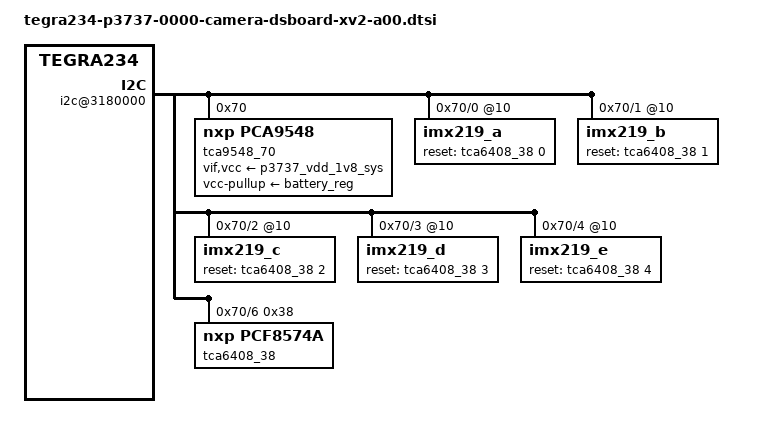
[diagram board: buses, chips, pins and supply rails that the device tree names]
/*
 * Copyright (c) 2015-2018, NVIDIA CORPORATION.  All rights reserved.
 *
 * This program is free software; you can redistribute it and/or modify
 * it under the terms of the GNU General Public License as published by
 * the Free Software Foundation; either version 2 of the License, or
 * (at your option) any later version.
 *
 * This program is distributed in the hope that it will be useful, but WITHOUT
 * ANY WARRANTY; without even the implied warranty of MERCHANTABILITY or
 * FITNESS FOR A PARTICULAR PURPOSE.  See the GNU General Public License for
 * more details.
 *
 * You should have received a copy of the GNU General Public License
 * along with this program.  If not, see <http://www.gnu.org/licenses/>.
 */
#include "tegra234-camera-dsboard-xv2-a00.dtsi"
#include "dt-bindings/clock/tegra234-clock.h"

#define CAMERA_I2C_MUX_BUS(x) (0x1E + x)

/ {
	tegra-camera-platform {
		/**
		* tpg_max_iso = <>;
		* Max iso bw for 6 streams of tpg
		* streams * nvcsi_freq * PG_bitrate / RG10 * BPP
		* 6 * 102Mhz * 32 bits/ 10 bits * 2 Bps
		* = 3916.8 MBps
		*/
		tpg_max_iso = <3916800>;
	};

	i2c@3180000 {
		tca9548_70: tca9548@70 {
			status = "okay";
			compatible = "nxp,pca9548";
			reg = <0x70>;
			#address-cells = <1>;
			#size-cells = <0>;
			skip_mux_detect;
			vif-supply = <&p3737_vdd_1v8_sys>;
			vcc-supply = <&p3737_vdd_1v8_sys>;
			vcc-pullup-supply = <&battery_reg>;
			force_bus_start = <CAMERA_I2C_MUX_BUS(0)>;
			i2c@0 {
				status = "okay";
				reg = <0>;
				i2c-mux,deselect-on-exit;
				#address-cells = <1>;
				#size-cells = <0>;
				imx219_a@10 {
					status = "okay";
					reset-gpios = <&tca6408_38 0 GPIO_ACTIVE_HIGH>;
				};
			};
			i2c@1 {
				status = "okay";
				reg = <1>;
				i2c-mux,deselect-on-exit;
				#address-cells = <1>;
				#size-cells = <0>;
				imx219_b@10 {
					status = "okay";
					reset-gpios = <&tca6408_38 1 GPIO_ACTIVE_HIGH>;
				};
			};
			i2c@2 {
				status = "okay";
				reg = <2>;
				i2c-mux,deselect-on-exit;
				#address-cells = <1>;
				#size-cells = <0>;
				imx219_c@10 {
					status = "okay";
					reset-gpios = <&tca6408_38 2 GPIO_ACTIVE_HIGH>;
				};
			};
			i2c@3 {
				status = "okay";
				reg = <3>;
				i2c-mux,deselect-on-exit;
				#address-cells = <1>;
				#size-cells = <0>;
				imx219_d@10 {
					status = "okay";
					reset-gpios = <&tca6408_38 3 GPIO_ACTIVE_HIGH>;
				};
			};
			i2c@4 {
				status = "okay";
				reg = <4>;
				i2c-mux,deselect-on-exit;
				#address-cells = <1>;
				#size-cells = <0>;
				imx219_e@10 {
					status = "okay";
					reset-gpios = <&tca6408_38 4 GPIO_ACTIVE_HIGH>;
				};
			};
			i2c@5 {
				status="disabled";
				reg = <5>;
				i2c-mux,deselect-on-exit;
				#address-cells = <1>;
				#size-cells = <0>;
				imx219_f@10 {
					status = "disabled";
					reset-gpios = <&tca6408_38 5 GPIO_ACTIVE_HIGH>;
				};
			};

			i2c@6 {
				status = "okay";
				reg = <6>;
				i2c-mux,deselect-on-exit;
				#address-cells = <1>;
				#size-cells = <0>;
				tca6408_38: tca6408@38 {
					status = "okay";
					compatible = "nxp,pcf8574a";
					reg = <0x38>;
					gpio-controller;
					#gpio-cells = <2>;
					tca6408_38_outlow {
						/*
						 * GPIO-0 : PWDN_CAM0
						 * GPIO-1 : PWDN_CAM1
						 * GPIO-2 : PWDN_CAM2
						 * GPIO-3 : PWDN_CAM3
						 * GPIO-4 : PWDN_CAM4
						 * GPIO-5 : PWDN_CAM5
						 * GPIO-6 : 
						 * GPIO-7 : 
						 */
						gpio-hog;
						gpios = <0 0 1 0 2 0 3 0 4 0 5 0 6 0 7 0>;
						output-low;
						label = "tca6408_38_outlow_0",
							"tca6408_38_outlow_1",
							"tca6408_38_outlow_2",
							"tca6408_38_outlow_3",
							"tca6408_38_outlow_4",
							"tca6408_38_outlow_5",
							"tca6408_38_outlow_6",
							"tca6408_38_outlow_7";
					};
				};
			};
		};
	};
};
